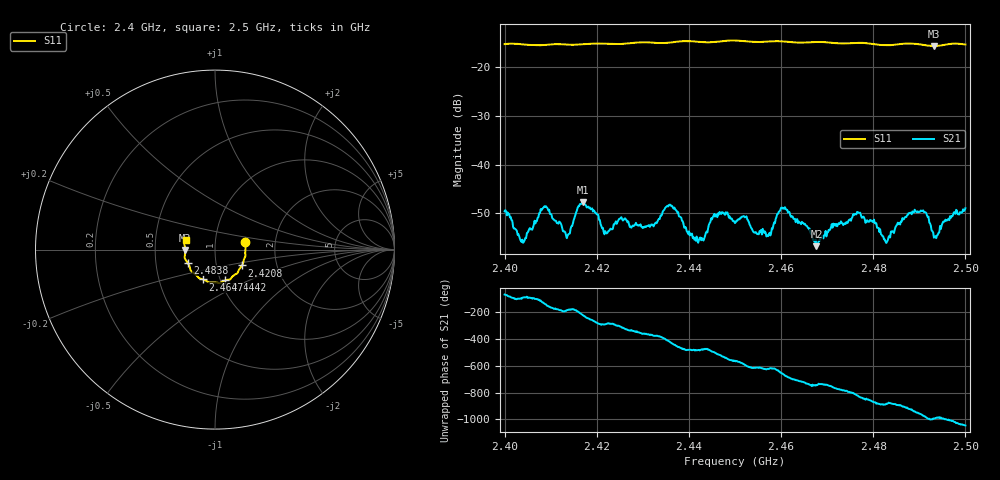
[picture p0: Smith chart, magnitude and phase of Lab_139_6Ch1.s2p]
# Hz S RI R 50
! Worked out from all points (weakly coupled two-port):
!   601 points, 2.4 GHz to 2.5 GHz, reference 50 ohm
!   highest |S21| = -47.73 dB at 2.417 GHz (marker M1); lowest = -56.8 dB at 2.4677 GHz (marker M2)
!   lowest |S11| = -15.6 dB at 2.4932 GHz (marker M3), VSWR 1.40, Z = 35.8 - j0.103 ohm
!   |S11| at or under -10 dB: start of sweep to end of sweep
!   S12 and S22 are empty: the file has one direction only
!   S11 on the Smith chart (normalised r, x): 2.4 GHz: 1.40, +0.12; 2.4208 GHz: 1.33, -0.24; 2.4442 GHz: 1.05, -0.37; 2.4647 GHz: 0.83, -0.29; 2.4838 GHz: 0.73, -0.11; 2.5 GHz: 0.72, +0.08
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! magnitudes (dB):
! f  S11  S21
! 2.4 GHz  -15.2  -49.6
! 2.4038 GHz  -15.3  -55.4
! 2.4087 GHz  -15.4  -48.5
! 2.4137 GHz  -15.3  -54.6
! 2.4167 GHz  -15.3  -48.1
! 2.417 GHz  -15.3  -47.7
! 2.4208 GHz  -15.1  -52.2
! 2.4333 GHz  -15.0  -51.4
! 2.4358 GHz  -14.9  -48.2
! 2.4415 GHz  -14.7  -55.7
! 2.4442 GHz  -14.9  -53.1
! 2.45 GHz  -14.5  -52.0
! 2.4605 GHz  -14.7  -48.9
! 2.4647 GHz  -14.9  -51.9
! 2.4667 GHz  -14.8  -54.3
! 2.4677 GHz  -14.8  -56.8
! 2.4767 GHz  -15.0  -49.8
! 2.4833 GHz  -15.5  -54.9
! 2.4838 GHz  -15.4  -53.8
! 2.4907 GHz  -15.4  -49.5
! 2.4932 GHz  -15.6  -55.0
! 2.5 GHz  -15.3  -49.0
